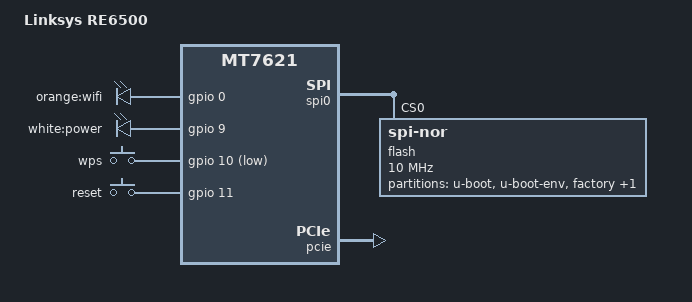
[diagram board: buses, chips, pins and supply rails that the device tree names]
#include "mt7621.dtsi"

#include <dt-bindings/gpio/gpio.h>
#include <dt-bindings/input/input.h>

/ {
	compatible = "linksys,re6500", "mediatek,mt7621-soc";
	model = "Linksys RE6500";

	aliases {
		led-boot = &led_power;
		led-failsafe = &led_power;
		led-running = &led_power;
		led-upgrade = &led_power;
	};

	leds {
		compatible = "gpio-leds";

		wifi {
			label = "orange:wifi";
			gpios = <&gpio 0 GPIO_ACTIVE_HIGH>;
		};

		led_power: power {
			label = "white:power";
			gpios = <&gpio 9 GPIO_ACTIVE_HIGH>;
		};
	};

	keys {
		compatible = "gpio-keys";

		wps {
			label = "wps";
			gpios = <&gpio 10 GPIO_ACTIVE_LOW>;
			linux,code = <KEY_WPS_BUTTON>;
		};

		reset {
			label = "reset";
			gpios = <&gpio 11 GPIO_ACTIVE_HIGH>;
			linux,code = <KEY_RESTART>;
		};
	};
};

&spi0 {
	status = "okay";

	flash@0 {
		compatible = "jedec,spi-nor";
		reg = <0>;
		spi-max-frequency = <10000000>;

		partitions {
			compatible = "fixed-partitions";
			#address-cells = <1>;
			#size-cells = <1>;

			partition@0 {
				label = "u-boot";
				reg = <0x0 0x30000>;
				read-only;
			};

			partition@30000 {
				label = "u-boot-env";
				reg = <0x30000 0x10000>;
				read-only;
			};

			factory: partition@40000 {
				label = "factory";
				reg = <0x40000 0x10000>;
				read-only;
			};

			partition@50000 {
				compatible = "denx,uimage";
				label = "firmware";
				reg = <0x50000 0x7b0000>;
			};
		};
	};
};

&state_default {
	gpio {
		groups = "i2c", "uart2";
		function = "gpio";
	};
};

&pcie {
	status = "okay";
};

&pcie0 {
	mt76@0,0 {
		reg = <0x0000 0 0 0 0>;
		mediatek,mtd-eeprom = <&factory 0x0000>;
		ieee80211-freq-limit = <5000000 6000000>;
	};
};

&pcie1 {
	mt76@0,0 {
		reg = <0x0000 0 0 0 0>;
		mediatek,mtd-eeprom = <&factory 0x8000>;
		ieee80211-freq-limit = <2400000 2500000>;
	};
};

&gmac0 {
	mtd-mac-address = <&factory 0x2e>;
};

&switch0 {
	ports {
		port@0 {
			status = "okay";
			label = "lan1";
		};

		port@1 {
			status = "okay";
			label = "lan2";
		};

		port@2 {
			status = "okay";
			label = "lan3";
		};

		port@3 {
			status = "okay";
			label = "lan4";
		};
	};
};

&xhci {
	status = "disabled";
};
